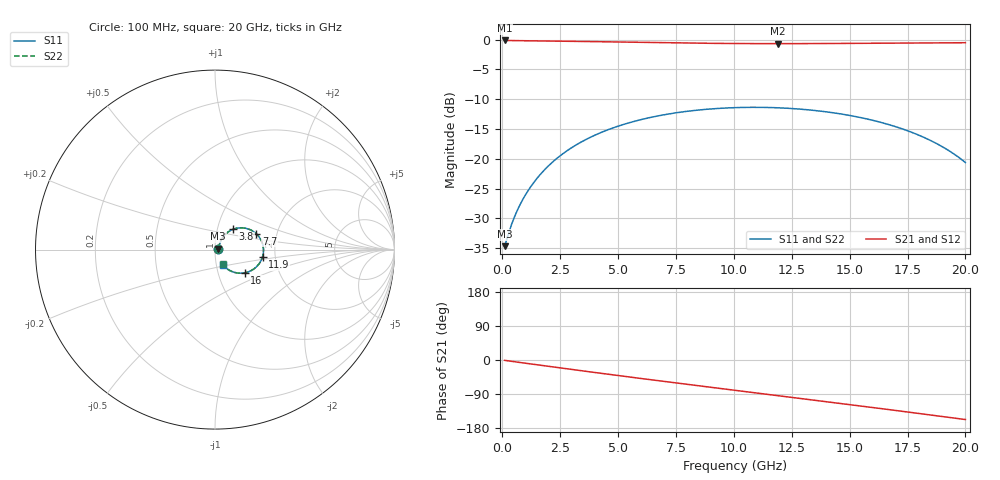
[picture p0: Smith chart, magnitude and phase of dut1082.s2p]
! Touchstone file exported from HFSS 2026.1.0
!  File:  C:/ffzhzh/LocalFiles/Ansys_Project_Files/temp_train_TSV_RDL_1082_1783300828_38704.aedt
!  Generated:  09:29:52 AM Jul  6, 2026
!  Design:  TSV_RDL
!  Project:  temp_train_TSV_RDL_1082_1783300828_38704
! Variables:
!  h_bsmrdl = 2.49um
!  h_ox = 20um
!  h_rdl = 5um
!  h_sub = 72.81um
!  h_tmrdl = 3.65um
!  h_tsv = 72.81um
!  h_via = 3um
!  l_bsmrdl = 266.71um
!  l_sub = 2578.18um
!  l_tmrdl = 311.85um
!  m_sub = 200um
!  pitch = 29.05um
!  r_tsv = 3.06um
!  s_tmrdl = 10um
!  w_bsmrdl = 23.16um
!  w_sub = 500um
!  w_tmrdl = 20.39um
!  x_tsv_center1 = 322.045um
!  x_tsv_center2 = 611.915um
!  x_tsv_center3 = 944.155um
!  x_tsv_center4 = 1234.025um
!  x_tsv_center5 = 1566.265um
!  x_tsv_center6 = 1856.135um
# GHz S MA R 50.000000
! Terminal data exported
! Port[1] = TM_RDL1_1_T1
! Port[2] = TM_RDL5_1_T1
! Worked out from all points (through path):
!   200 points, 100 MHz to 20 GHz, reference 50 ohm
!   highest |S21| = -0.16 dB at 100 MHz (marker M1); lowest = -0.7 dB at 11.9 GHz (marker M2)
!   group delay of S21, straight-line fit = 21.5 ps
!   lowest |S11| = -34.6 dB at 100 MHz (marker M3), VSWR 1.04, Z = 51.8 + j0.548 ohm
!   |S11| at or under -10 dB: start of sweep to end of sweep
!   |S22| runs from -34.6 to -11.4 dB; largest |S21 - S12| = 1.7e-14
!   S11 on the Smith chart (normalised r, x): 100 MHz: 1.04, +0.01; 3.8 GHz: 1.19, +0.28; 7.7 GHz: 1.56, +0.29; 11.9 GHz: 1.71, -0.15; 16 GHz: 1.34, -0.36; 20 GHz: 1.07, -0.18
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0.1  0.01853 16.6  0.9823 -0.9  0.9823 -0.9  0.01853 16.6
! Gamma 0 0 0 0
! Port Impedance 50 0 50 0
0.4  0.02818 41.2  0.9798 -3.5  0.9798 -3.5  0.02818 41.2
0.7  0.03885 50.3  0.9779 -6.0  0.9779 -6.0  0.03885 50.3
1  0.04986 54.7  0.9765 -8.5  0.9765 -8.5  0.04986 54.7
1.4  0.06489 57.0  0.9747 -11.8  0.9747 -11.8  0.06489 57.0
1.8  0.08001 57.4  0.9728 -15.1  0.9728 -15.1  0.08001 57.4
2.3  0.09874 56.2  0.9703 -19.2  0.9703 -19.2  0.09874 56.2
3.5  0.1415 50.2  0.963 -29.0  0.963 -29.0  0.1415 50.2
3.8  0.1514 48.3  0.961 -31.4  0.961 -31.4  0.1514 48.3
5.2  0.1933 38.9  0.9512 -42.6  0.9512 -42.6  0.1933 38.9
6.8  0.2305 27.6  0.9404 -55.1  0.9404 -55.1  0.2305 27.6
7.7  0.2462 21.1  0.9352 -62.0  0.9352 -62.0  0.2462 21.1
8.9  0.261 12.5  0.9296 -71.2  0.9296 -71.2  0.261 12.5
10.1  0.2689 4.0  0.9259 -80.3  0.9259 -80.3  0.2689 4.0
11.9  0.2678 -8.9  0.9238 -93.9  0.9238 -93.9  0.2678 -8.9
13.4  0.2554 -19.5  0.9249 -105.3  0.9249 -105.3  0.2554 -19.5
14.7  0.2365 -28.8  0.9276 -115.3  0.9276 -115.3  0.2365 -28.8
16  0.2103 -37.9  0.9311 -125.4  0.9311 -125.4  0.2103 -37.9
16.7  0.1935 -42.8  0.9332 -130.9  0.9332 -130.9  0.1935 -42.8
18.5  0.1423 -54.9  0.9379 -145.1  0.9379 -145.1  0.1423 -54.8
19.3  0.1167 -59.6  0.9394 -151.5  0.9394 -151.5  0.1167 -59.6
20  0.09311 -63.1  0.9402 -157.1  0.9402 -157.1  0.09312 -63.0
